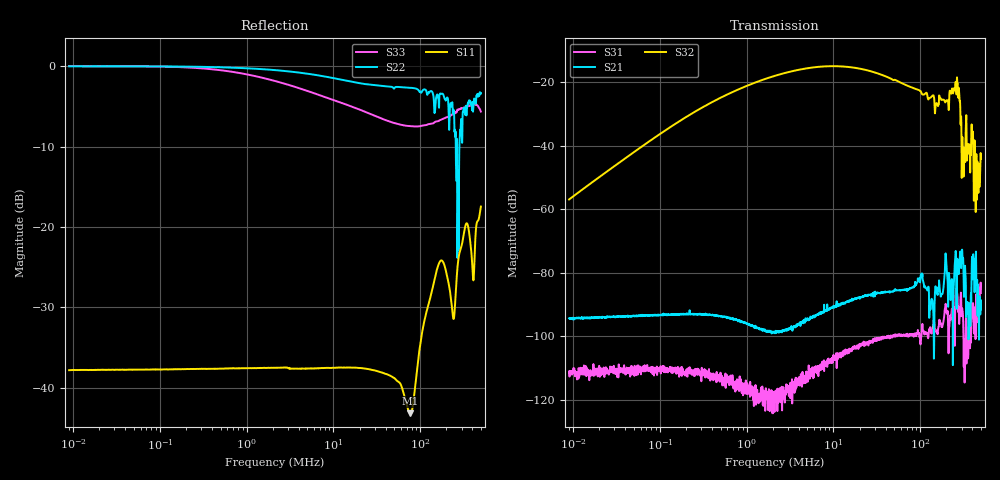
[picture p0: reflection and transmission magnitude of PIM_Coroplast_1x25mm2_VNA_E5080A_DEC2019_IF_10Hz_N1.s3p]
!Keysight Technologies,E5080A,MY55201161,A.12.60.03
!Date: Thursday, December 19, 2019 20:41:26
!Correction: S11(Full 3 Port(1,2,3))
!S12(Full 3 Port(1,2,3))
!S13(Full 3 Port(1,2,3))
!S21(Full 3 Port(1,2,3))
!S22(Full 3 Port(1,2,3))
!S23(Full 3 Port(1,2,3))
!S31(Full 3 Port(1,2,3))
!S32(Full 3 Port(1,2,3))
!S33(Full 3 Port(1,2,3))
!S3P File: Measurements: <S11,S12,S13>,
!<S21,S22,S23>,
!<S31,S32,S33>:Log Frequency Sweep
# Hz S  dB  R 50
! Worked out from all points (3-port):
!   2000 points, 9 kHz to 500 MHz, reference 50 ohm
!   strongest paths, dB at 9 kHz, 138.4 kHz, 2.127 MHz, 32.7 MHz, 500 MHz:
!     S32: -56.8, -33.7, -17.9, -17.2, -44.1
!     S21: -94.3, -93.1, -99.0, -86.3, -91.5
!     S31: -111.4, -111.0, -119.0, -101.0, -86.3
!   lowest |S11| = -43.2 dB at 77.13 MHz (marker M1), VSWR 1.01, Z = 50.5 + j0.508 ohm
!   |S11| at or under -10 dB: start of sweep to end of sweep
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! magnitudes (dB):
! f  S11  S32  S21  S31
! 9 kHz  -37.8  -56.8  -94.3  -111.4
! 2.127 MHz  -37.5  -17.9  -99.0  -119.0
! 77.13 MHz  -43.2  -21.4  -84.8  -99.5
! 160.4 MHz  -24.8  -27.4  -84.6  -97.7
! 233.9 MHz  -30.4  -21.9  -83.9  -92.4
! 265.2 MHz  -25.8  -18.4  -78.3  -86.1
! 314.2 MHz  -21.2  -47.0  -77.2  -98.1
! 406.2 MHz  -26.3  -37.0  -74.3  -89.5
! 458.1 MHz  -19.3  -45.0  -93.5  -94.6
! 500 MHz  -17.5  -44.1  -91.5  -86.3
